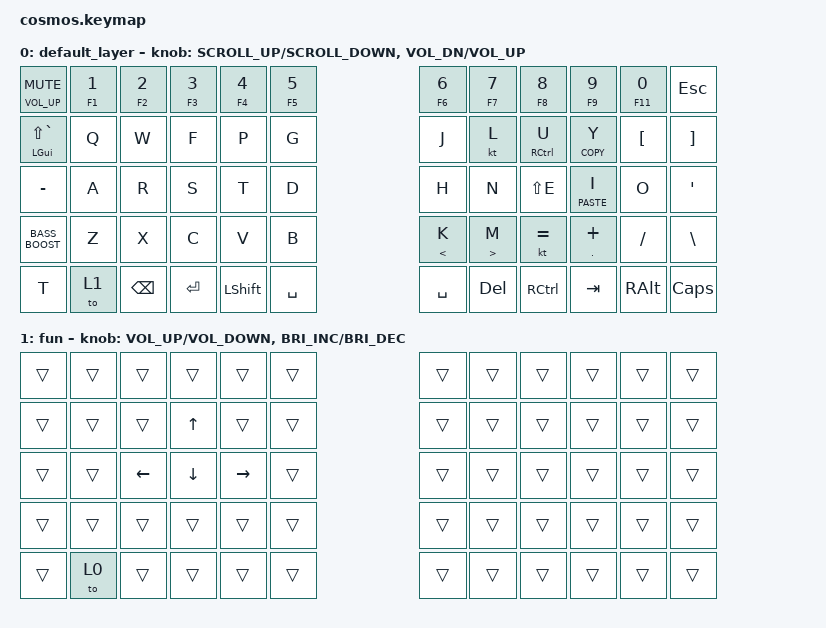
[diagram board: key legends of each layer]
/*
 * Copyright (c) 2020 The ZMK Contributors
 *
 * SPDX-License-Identifier: MIT
 */

#include <behaviors.dtsi>
#include <dt-bindings/zmk/keys.h>
#include <dt-bindings/zmk/keys.h>
#include <dt-bindings/zmk/bt.h>

#define BASE 0
#define fun 1


&mt {
    quick-tap-ms = <100>;
    global-quick-tap;
    flavor = "tap-preferred";
    tapping-term-ms = <180>;
};

/ {
    behaviors {
        gqt: global-quick-tap {
            compatible = "zmk,behavior-hold-tap";
            label = "GLOBAL_QUICK_TAP";
            #binding-cells = <2>;
            flavor = "tap-preferred";
            tapping-term-ms = <200>;
            quick-tap-ms = <125>;
            global-quick-tap;
            bindings = <&kp>, <&kp>;
        };
    };
};

/ {
    combos {
        compatible = "zmk,combos";

        combo_capslock {
            bindings = <&caps_word>;
            key-positions = <13 16>;
            layers = <0>;
        };
    };
};

/ {
    keymap {
        compatible = "zmk,keymap";

        default_layer {
            //          ------------------------------------------------------------------------------------------------------------
            //          |quiet|!1 f1|@2 f2 |# 3 f3|$ 4 f4|% 5 f5|                                       | 6^ f6 |7&f7  |  8*f8 | 9f9   |0 f10 |   esc |
            //          |  ~` |  Q  |  W   |  F   |  P   |  G   |                                       | J     |  L   |  U    |  Y    |  klam| klam  |
            //          |  _- |  A  | R lef|S down| T ri |  D   |                                       | H     |  N   |  E    |  I    |  O   |   ' " |
            //          |macro|  z  |  x   |  C   |  V   |  B   |                                       | K <   |  M > |  =,   |  + .  |  /?  |   \|  |
            //                      | macro| Meta |  back| enter| Shft | space|          | space |  del | fn    |  tab |  Alt  |  ctrl |
            //                 

            bindings = <
&mt C_VOLUME_UP K_MUTE  &mt F1 NUMBER_1  &mt F2 NUMBER_2  &mt F3 NUMBER_3  &mt F4 NUMBER_4  &mt F5 NUMBER_5                                      &mt F6 NUMBER_6  &mt F7 NUMBER_7     &mt F8 NUMBER_8  &mt F9 NUMBER_9  &mt F11 NUMBER_0  &kp ESC
&mt LGUI LS(GRAVE)      &kp Q            &kp W            &kp F            &kp P            &kp G                                                &kp J            &kt L               &mt RCTRL U      &mt K_COPY Y     &kp LEFT_BRACKET  &kp RIGHT_BRACKET
&kp MINUS               &kp A            &kp R            &kp S            &kp T            &kp D                                                &kp H            &kp N               &kp LS(E)        &mt K_PASTE I    &kp O             &kp SQT
&kp C_BASS_BOOST        &kp Z            &kp X            &kp C            &kp V            &kp B                                                &mt LESS_THAN K  &mt GREATER_THAN M  &kt EQUAL        &mt PERIOD PLUS  &kp SLASH         &kp BSLH
                        &kp T            &to 1            &kp BACKSPACE    &kp ENTER        &kp LEFT_SHIFT   &kp SPACE    &kp SPACE  &kp DELETE  &kp RCTRL        &kp TAB             &kp RIGHT_ALT    &kp CAPSLOCK
            >;

            sensor-bindings =
                <&inc_dec_kp K_SCROLL_UP K_SCROLL_DOWN>,
                <&inc_dec_kp C_VOL_DN C_VOL_UP>;
        };

        fun {
            bindings = <
&trans  &trans  &trans          &trans          &trans           &trans                            &trans  &trans  &trans  &trans  &trans  &trans
&trans  &trans  &trans          &kp UP_ARROW    &trans           &trans                            &trans  &trans  &trans  &trans  &trans  &trans
&trans  &trans  &kp LEFT_ARROW  &kp DOWN_ARROW  &kp RIGHT_ARROW  &trans                            &trans  &trans  &trans  &trans  &trans  &trans
&trans  &trans  &trans          &trans          &trans           &trans                            &trans  &trans  &trans  &trans  &trans  &trans
        &trans  &to 0           &trans          &trans           &trans  &trans    &trans  &trans  &trans  &trans  &trans  &trans
            >;

            sensor-bindings =
                <&inc_dec_kp C_VOLUME_UP K_VOLUME_DOWN>,
                <&inc_dec_kp C_BRIGHTNESS_INC C_BRIGHTNESS_DEC>;
        };
    };
};
